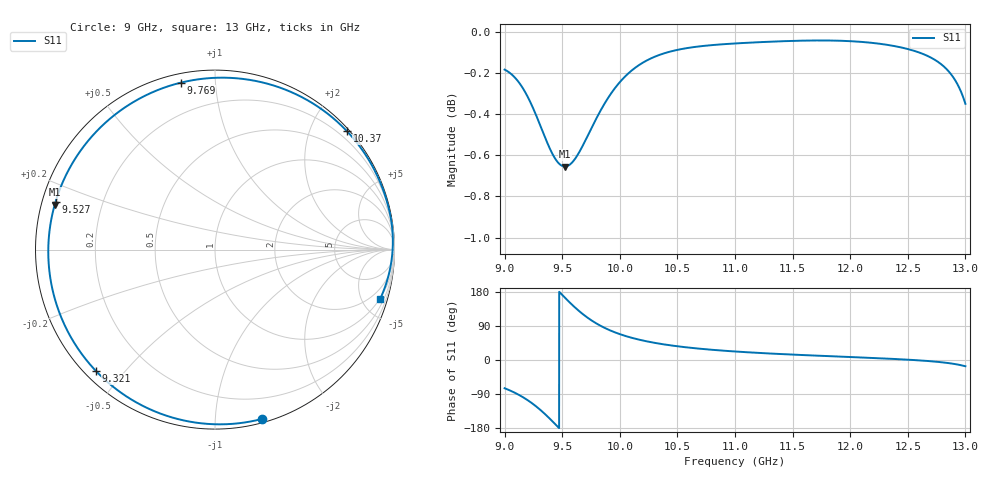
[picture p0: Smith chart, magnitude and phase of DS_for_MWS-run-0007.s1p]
! TOUCHSTONE file generated by CST DESIGN STUDIO
! Date and time: Tue Feb  4 15:43:08 2025
! Project name: C:\Work\MatlabApps\UnitCellOptimizationMatlab\CST\unitcell.cst
! Tree item: Tasks\Sweep1\SPara1\S-Parameters
! Header version: 2024
! Port assignment regex: !\s*Touchstone port\s*([0-9]+)\s*=\s*(CST MWS port|CST DES external port|CST DES block port)\s*(.+)\s* \(\"(.*)\"\)(\s*mode\s*([0-9]+))?.*
! Touchstone port assignment:
! Touchstone port 1 = CST DES external port 1 ("")
# GHz S MA R 50
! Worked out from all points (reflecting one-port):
!   4001 points, 9 GHz to 13 GHz, reference 50 ohm
!   lowest |S11| = -0.7 dB at 9.524 GHz (marker M1), VSWR 26.55, Z = 1.92 + j6.89 ohm
!   phase of S11 starts at -74 deg and turns -302 deg over the sweep
!   S11 on the Smith chart (normalised r, x): 9 GHz: 0.03, -1.32; 9.321 GHz: 0.03, -0.42; 9.527 GHz: 0.04, +0.15; 9.769 GHz: 0.04, +0.81; 10.37 GHz: 0.05, +2.61; 13 GHz: 0.95, -6.74
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9  0.9791 -74.5
9.084  0.9751 -85.7
9.184  0.9662 -102.8
9.255  0.9571 -118.0
9.321  0.9472 -134.5
9.372  0.9396 -148.8
9.417  0.9338 -162.3
9.459  0.9298 -175.4
9.5  0.9277 171.7
9.524  0.9274 164.3
9.527  0.9274 163.4
9.589  0.9297 144.9
9.646  0.9347 129.3
9.705  0.9415 115.0
9.769  0.9494 101.6
9.883  0.9622 82.6
10  0.9723 68.3
10.079  0.9773 60.7
10.165  0.9815 53.9
10.368  0.9877 41.9
10.5  0.99 36.2
10.721  0.9921 29.0
11  0.9935 22.5
11.5  0.995 14.3
12  0.9948 7.8
12.5  0.9904 0.9
12.799  0.9816 -6.1
13  0.9605 -16.6
